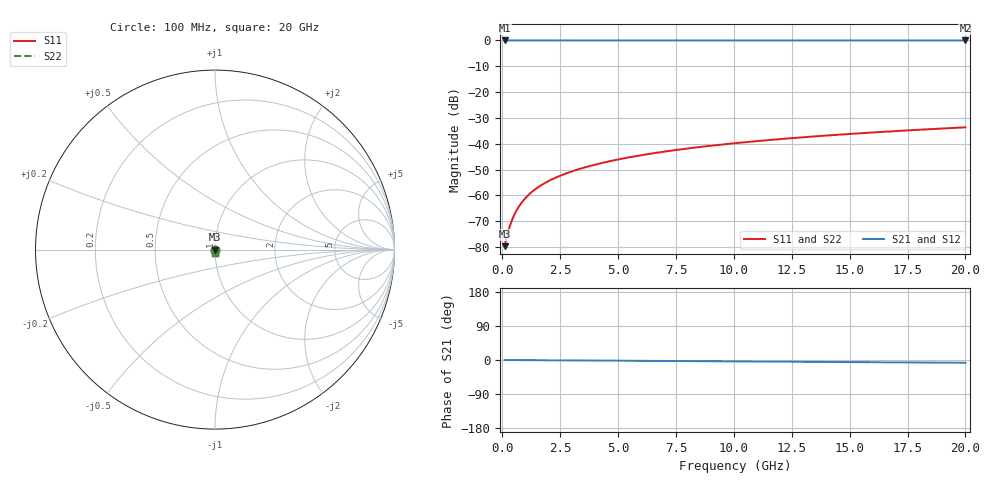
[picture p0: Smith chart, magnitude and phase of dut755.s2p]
! Touchstone file exported from HFSS 2026.1.0
!  File:  C:/ffzhzh/LocalFiles/Ansys_Project_Files/temp_train_TSV_755_1783183140_22436.aedt
!  Generated:  12:40:18 AM Jul  5, 2026
!  Design:  TSV
!  Project:  temp_train_TSV_755_1783183140_22436
! Variables:
!  h_bsmrdl = 2um
!  h_ox = 20um
!  h_rdl = 5um
!  h_sub = 72.14um
!  h_tmrdl = 5um
!  h_tsv = 72.14um
!  h_via = 3um
!  l_bsmrdl = 300um
!  l_sub = 426.3um
!  l_tmrdl = 200um
!  m_sub = 200um
!  pitch = 44.93um
!  r_tsv = 13.15um
!  s_tmrdl = 10um
!  w_bsmrdl = 18um
!  w_sub = 500um
!  w_tmrdl = 12um
!  x_tsv_center1 = 206um
!  x_tsv_center2 = 524um
!  x_tsv_center3 = 736um
!  x_tsv_center4 = 1054um
!  x_tsv_center5 = 1266um
!  x_tsv_center6 = 1584um
# GHz S MA R 50.000000
! Terminal data exported
! Port[1] = TSV1_1_T1
! Port[2] = TSV1_1_T2
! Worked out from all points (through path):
!   200 points, 100 MHz to 20 GHz, reference 50 ohm
!   highest |S21| = 0.00 dB at 100 MHz (marker M1); lowest = 0.0 dB at 20 GHz (marker M2)
!   group delay of S21, straight-line fit = 1.02 ps
!   lowest |S11| = -79.7 dB at 100 MHz (marker M3), VSWR 1.00, Z = 50 - j0.00647 ohm
!   |S11| at or under -10 dB: start of sweep to end of sweep
!   |S22| runs from -79.7 to -33.6 dB; largest |S21 - S12| = 2.8e-15
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0.1  0.0001038 -38.5  0.9999 -0.0  0.9999 -0.0  0.0001038 -38.5
! Gamma 0 0 0 0
! Port Impedance 50 0 50 0
0.2  0.0001623 -54.8  0.9999 -0.1  0.9999 -0.1  0.0001623 -54.8
0.3  0.0002344 -61.6  0.9999 -0.1  0.9999 -0.1  0.0002344 -61.6
0.4  0.0003152 -65.1  0.9999 -0.2  0.9999 -0.2  0.0003152 -65.1
0.5  0.0004026 -67.5  0.9998 -0.2  0.9998 -0.2  0.0004026 -67.5
0.6  0.0004948 -69.3  0.9998 -0.2  0.9998 -0.2  0.0004948 -69.3
0.8  0.000688 -72.1  0.9998 -0.3  0.9998 -0.3  0.000688 -72.1
1.1  0.0009877 -75.3  0.9997 -0.4  0.9997 -0.4  0.0009877 -75.3
1.3  0.00119 -76.9  0.9997 -0.5  0.9997 -0.5  0.00119 -76.9
1.5  0.001392 -78.3  0.9997 -0.6  0.9997 -0.6  0.001392 -78.3
1.8  0.001695 -79.8  0.9997 -0.7  0.9997 -0.7  0.001695 -79.8
2.1  0.001998 -81.0  0.9997 -0.8  0.9997 -0.8  0.001998 -81.0
2.7  0.002604 -82.7  0.9996 -1.0  0.9996 -1.0  0.002604 -82.7
3.5  0.003417 -84.2  0.9996 -1.3  0.9996 -1.3  0.003417 -84.2
4.2  0.004133 -85.2  0.9995 -1.6  0.9995 -1.6  0.004133 -85.2
5  0.004957 -86.0  0.9995 -1.8  0.9995 -1.8  0.004957 -86.0
6.8  0.006829 -87.5  0.9994 -2.5  0.9994 -2.5  0.006829 -87.5
8.3  0.008401 -88.6  0.9993 -3.1  0.9993 -3.1  0.008401 -88.6
10.1  0.01029 -89.7  0.9992 -3.7  0.9992 -3.7  0.01029 -89.7
13.4  0.01378 -91.5  0.9991 -4.9  0.9991 -4.9  0.01378 -91.5
16.7  0.01727 -93.1  0.9989 -6.1  0.9989 -6.1  0.01727 -93.1
20  0.02078 -94.5  0.9988 -7.3  0.9988 -7.3  0.02078 -94.5
